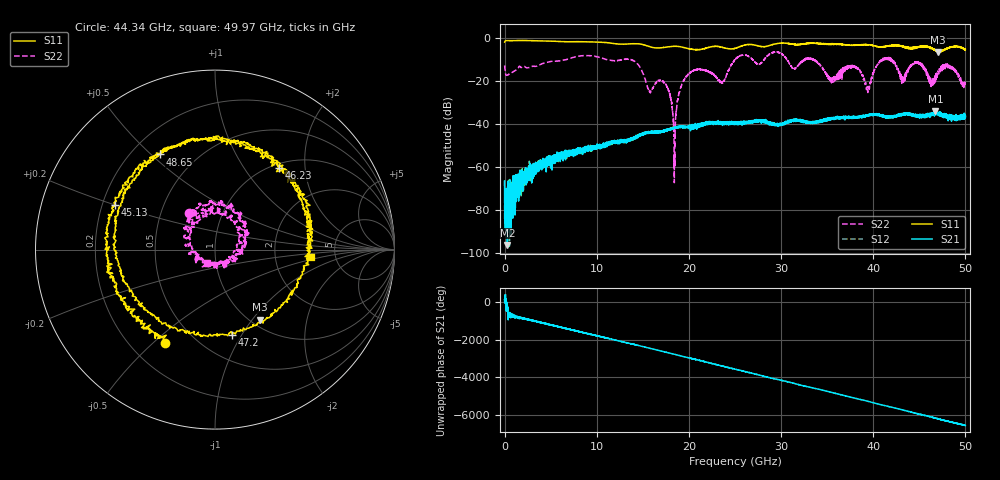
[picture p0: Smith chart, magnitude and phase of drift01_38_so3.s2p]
!Created with skrf (http://scikit-rf.org).
# Hz S RI R 50.0
!freq ReS11 ImS11 ReS21 ImS21 ReS12 ImS12 ReS22 ImS22
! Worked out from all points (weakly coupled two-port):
!   10001 points, 300 kHz to 50 GHz, reference 50 ohm
!   highest |S21| = -34.19 dB at 46.75 GHz (marker M1); lowest = -96.2 dB at 300.3 MHz (marker M2)
!   lowest |S11| = -6.7 dB at 47.05 GHz (marker M3), VSWR 2.73, Z = 54.8 - j54.6 ohm
!   |S11| at or under -10 dB: nowhere
!   |S22| runs from -67.3 to -6.7 dB; largest |S21 - S12| = 0.0041
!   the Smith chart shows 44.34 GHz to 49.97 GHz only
!   S11 on the Smith chart (normalised r, x): 44.34 GHz: 0.34, -0.55; 45.13 GHz: 0.25, +0.20; 46.23 GHz: 1.07, +1.46; 47.2 GHz: 0.73, -0.91; 48.65 GHz: 0.31, +0.53; 49.97 GHz: 3.25, -0.36
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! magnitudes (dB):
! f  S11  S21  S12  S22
! 300 kHz  -2.1  -66.5  -66.5  -12.9
! 300.3 MHz  -1.4  -96.2  -76.5  -17.5
! 8.335 GHz  -2.0  -52.0  -51.8  -8.5
! 16.67 GHz  -4.8  -43.6  -43.7  -20.0
! 17.74 GHz  -4.3  -42.6  -42.8  -23.9
! 18.43 GHz  -4.1  -42.1  -42.0  -59.8
! 19.9 GHz  -5.1  -41.2  -41.5  -17.2
! 23.6 GHz  -4.5  -39.9  -39.8  -20.7
! 25 GHz  -5.0  -39.8  -40.0  -10.4
! 33.34 GHz  -2.6  -39.0  -39.1  -10.0
! 39.46 GHz  -3.4  -35.9  -36.0  -23.4
! 41.67 GHz  -3.9  -36.7  -36.9  -10.0
! 43.19 GHz  -4.2  -35.5  -35.7  -19.9
! 44.34 GHz  -4.6  -35.6  -36.0  -12.1
! 45.13 GHz  -4.3  -36.0  -36.7  -12.2
! 46.23 GHz  -4.8  -35.8  -35.1  -20.2
! 46.75 GHz  -5.9  -34.2  -35.2  -18.7
! 47.05 GHz  -6.7  -35.1  -35.4  -15.8
! 47.2 GHz  -6.3  -35.4  -35.8  -14.5
! 48.65 GHz  -4.3  -37.2  -36.5  -14.2
! 49.97 GHz  -5.4  -36.2  -36.4  -21.2
! 50 GHz  -5.5  -36.9  -37.0  -21.6
